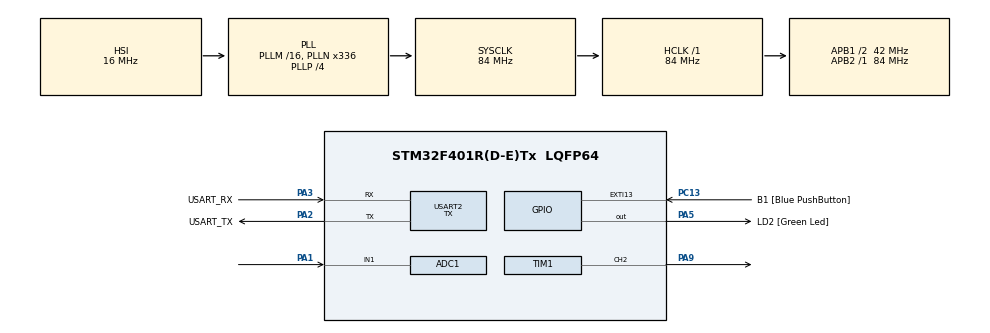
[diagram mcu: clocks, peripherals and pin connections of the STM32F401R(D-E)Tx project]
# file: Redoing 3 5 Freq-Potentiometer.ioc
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ADC1.Channel-0\#ChannelRegularConversion=ADC_CHANNEL_1
ADC1.ExternalTrigConv=ADC_EXTERNALTRIGCONV_T2_TRGO
ADC1.InjNumberOfConversion=0
ADC1.NbrOfConversion=1
ADC1.NbrOfConversionFlag=1
ADC1.Rank-0\#ChannelRegularConversion=1
ADC1.SamplingTime-0\#ChannelRegularConversion=ADC_SAMPLETIME_480CYCLES
ADC1.master=1
Mcu.Family=STM32F4
Mcu.Name=STM32F401R(D-E)Tx
Mcu.Package=LQFP64
NVIC.ADC_IRQn=true\:0\:0\:false\:false\:true\:true\:true\:true
NVIC.PriorityGroup=NVIC_PRIORITYGROUP_0
NVIC.TIM2_IRQn=true\:0\:0\:false\:false\:true\:true\:true\:true
NVIC.USART2_IRQn=true\:0\:0\:false\:false\:true\:true\:true\:true
PA1.Signal=ADCx_IN1
PA13.GPIO_Label=TMS
PA13.Mode=Serial_Wire
PA13.Signal=SYS_JTMS-SWDIO
PA14.GPIO_Label=TCK
PA14.Mode=Serial_Wire
PA14.Signal=SYS_JTCK-SWCLK
PA2.GPIO_Label=USART_TX
PA2.GPIO_Mode=GPIO_MODE_AF_PP
PA2.GPIO_PuPd=GPIO_NOPULL
PA2.GPIO_Speed=GPIO_SPEED_FREQ_LOW
PA2.Mode=Asynchronous
PA2.Signal=USART2_TX
PA3.GPIO_Label=USART_RX
PA3.GPIO_Mode=GPIO_MODE_AF_PP
PA3.GPIO_PuPd=GPIO_NOPULL
PA3.GPIO_Speed=GPIO_SPEED_FREQ_LOW
PA3.Mode=Asynchronous
PA3.Signal=USART2_RX
PA5.GPIO_Label=LD2 [Green Led]
PA5.GPIO_Mode=GPIO_MODE_OUTPUT_PP
PA5.GPIO_PuPd=GPIO_NOPULL
PA5.GPIO_Speed=GPIO_SPEED_FREQ_LOW
PA5.Signal=GPIO_Output
PA9.Signal=S_TIM1_CH2
PB3.GPIO_Label=SWO
PB3.Signal=SYS_JTDO-SWO
PC13-ANTI_TAMP.GPIO_Label=B1 [Blue PushButton]
PC13-ANTI_TAMP.GPIO_ModeDefaultEXTI=GPIO_MODE_IT_FALLING
PC13-ANTI_TAMP.GPIO_PuPd=GPIO_NOPULL
PC13-ANTI_TAMP.Signal=GPXTI13
PC14-OSC32_IN.Mode=LSE-External-Oscillator
PC14-OSC32_IN.Signal=RCC_OSC32_IN
PC15-OSC32_OUT.Mode=LSE-External-Oscillator
PC15-OSC32_OUT.Signal=RCC_OSC32_OUT
PH0\ -\ OSC_IN.Mode=HSE-External-Clock-Source
PH0\ -\ OSC_IN.Signal=RCC_OSC_IN
PH1\ -\ OSC_OUT.Mode=HSE-External-Clock-Source
PH1\ -\ OSC_OUT.Signal=RCC_OSC_OUT
ProjectManager.HeapSize=0x200
ProjectManager.StackSize=0x400
ProjectManager.TargetToolchain=STM32CubeIDE
RCC.48MHZClocksFreq_Value=48000000
RCC.AHBFreq_Value=84000000
RCC.APB1CLKDivider=RCC_HCLK_DIV2
RCC.APB1Freq_Value=42000000
RCC.APB1TimFreq_Value=84000000
RCC.APB2Freq_Value=84000000
RCC.APB2TimFreq_Value=84000000
RCC.CortexFreq_Value=84000000
RCC.HCLKFreq_Value=84000000
RCC.HSE_VALUE=8000000
RCC.HSI_VALUE=16000000
RCC.PLLN=336
RCC.PLLP=RCC_PLLP_DIV4
RCC.PLLQ=7
RCC.SYSCLKFreq_VALUE=84000000
RCC.SYSCLKSource=RCC_SYSCLKSOURCE_PLLCLK
RCC.VCOOutputFreq_Value=336000000
SH.ADCx_IN1.0=ADC1_IN1,IN1
SH.S_TIM1_CH2.0=TIM1_CH2,PWM Generation2 CH2
TIM1.Channel-PWM\ Generation2\ CH2=TIM_CHANNEL_2
TIM1.Period=1000
TIM1.Prescaler=84-1
TIM1.Pulse-PWM\ Generation2\ CH2=1000/2
TIM2.Period=1000-1
TIM2.Prescaler=8400-1
TIM2.TIM_MasterOutputTrigger=TIM_TRGO_UPDATE
TIM2.TIM_MasterSlaveMode=TIM_MASTERSLAVEMODE_DISABLE
USART2.Mode=MODE_TX
USART2.VirtualMode=VM_ASYNC
VP_TIM2_VS_ClockSourceINT.Mode=Internal
board=NUCLEO-F401RE

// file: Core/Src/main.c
/* USER CODE BEGIN Header */
/**
  ******************************************************************************
  * @file           : main.c
  * @brief          : Main program body
  ******************************************************************************
  * @attention
  *
  * Copyright (c) 2024 STMicroelectronics.
  * All rights reserved.
  *
  * This software is licensed under terms that can be found in the LICENSE file
  * in the root directory of this software component.
  * If no LICENSE file comes with this software, it is provided AS-IS.
  *
  ******************************************************************************
  */
/* USER CODE END Header */
#include "main.h"

/* USER CODE BEGIN Includes */
#include <stdio.h>
#include <string.h>
#include <math.h>
/* USER CODE END Includes */

ADC_HandleTypeDef hadc1;

TIM_HandleTypeDef htim1;
TIM_HandleTypeDef htim2;

UART_HandleTypeDef huart2;

void SystemClock_Config(void);
static void MX_GPIO_Init(void);
static void MX_USART2_UART_Init(void);
static void MX_TIM1_Init(void);
static void MX_ADC1_Init(void);
static void MX_TIM2_Init(void);

/* USER CODE BEGIN 0 */
void changePWM(float freq) {
	htim1.Init.Period = 1000000/freq - 1;
	if (HAL_TIM_PWM_Init(&htim1) != HAL_OK)
		Error_Handler();

	TIM_OC_InitTypeDef sConfigOC = { 0 };

	sConfigOC.OCMode = TIM_OCMODE_PWM1;
	sConfigOC.Pulse = htim1.Init.Period/2 - 1;
	sConfigOC.OCPolarity = TIM_OCPOLARITY_HIGH;
	sConfigOC.OCNPolarity = TIM_OCNPOLARITY_HIGH;
	sConfigOC.OCFastMode = TIM_OCFAST_DISABLE;
	sConfigOC.OCIdleState = TIM_OCIDLESTATE_RESET;
	sConfigOC.OCNIdleState = TIM_OCNIDLESTATE_RESET;
	if (HAL_TIM_PWM_ConfigChannel(&htim1, &sConfigOC, TIM_CHANNEL_2) != HAL_OK)
		Error_Handler();
}

void HAL_ADC_ConvCpltCallback(ADC_HandleTypeDef *hadc){
	if(hadc == &hadc1){
		static aux = 0;
		float val = (int)HAL_ADC_GetValue(&hadc1)*72/4096 - 36;
		char string[64];
		if(aux != val){
			snprintf(string, sizeof(string), "Voltage: %.3f\r\n", val);
			HAL_UART_Transmit(&huart2, (uint8_t*) string, strlen(string), 100);
			changePWM(440 * pow(1.059463094359, val));
			HAL_TIM_PWM_Start(&htim1, TIM_CHANNEL_2);
			aux = val;
		}
	}
}

/* USER CODE END 0 */

int main(void)
{

  /* MCU Configuration--------------------------------------------------------*/

  /* Reset of all peripherals, Initializes the Flash interface and the Systick. */
  HAL_Init();

  /* Configure the system clock */
  SystemClock_Config();

  /* Initialize all configured peripherals */
  MX_GPIO_Init();
  MX_USART2_UART_Init();
  MX_TIM1_Init();
  MX_ADC1_Init();
  MX_TIM2_Init();
  /* USER CODE BEGIN 2 */

  //start frequency generator
  //if(HAL_TIM_PWM_Start(&htim1, TIM_CHANNEL_2) != HAL_OK)
  //	  	  Error_Handler();
  //start timer to make adc read
  if(HAL_TIM_Base_Start(&htim2) != HAL_OK)
  	  	  Error_Handler();

  //start adc conversion
  if(HAL_ADC_Start_IT(&hadc1) != HAL_OK)
  	  Error_Handler();

  /* USER CODE END 2 */

  /* Infinite loop */
  while (1)
  {

  }
}

void SystemClock_Config(void)
{
  RCC_OscInitTypeDef RCC_OscInitStruct = {0};
  RCC_ClkInitTypeDef RCC_ClkInitStruct = {0};

  /** Configure the main internal regulator output voltage
  */
  __HAL_RCC_PWR_CLK_ENABLE();
  __HAL_PWR_VOLTAGESCALING_CONFIG(PWR_REGULATOR_VOLTAGE_SCALE2);

  /** Initializes the RCC Oscillators according to the specified parameters
  * in the RCC_OscInitTypeDef structure.
  */
  RCC_OscInitStruct.OscillatorType = RCC_OSCILLATORTYPE_HSI;
  RCC_OscInitStruct.HSIState = RCC_HSI_ON;
  RCC_OscInitStruct.HSICalibrationValue = RCC_HSICALIBRATION_DEFAULT;
  RCC_OscInitStruct.PLL.PLLState = RCC_PLL_ON;
  RCC_OscInitStruct.PLL.PLLSource = RCC_PLLSOURCE_HSI;
  RCC_OscInitStruct.PLL.PLLM = 16;
  RCC_OscInitStruct.PLL.PLLN = 336;
  RCC_OscInitStruct.PLL.PLLP = RCC_PLLP_DIV4;
  RCC_OscInitStruct.PLL.PLLQ = 7;
  if (HAL_RCC_OscConfig(&RCC_OscInitStruct) != HAL_OK)
  {
    Error_Handler();
  }

  /** Initializes the CPU, AHB and APB buses clocks
  */
  RCC_ClkInitStruct.ClockType = RCC_CLOCKTYPE_HCLK|RCC_CLOCKTYPE_SYSCLK
                              |RCC_CLOCKTYPE_PCLK1|RCC_CLOCKTYPE_PCLK2;
  RCC_ClkInitStruct.SYSCLKSource = RCC_SYSCLKSOURCE_PLLCLK;
  RCC_ClkInitStruct.AHBCLKDivider = RCC_SYSCLK_DIV1;
  RCC_ClkInitStruct.APB1CLKDivider = RCC_HCLK_DIV2;
  RCC_ClkInitStruct.APB2CLKDivider = RCC_HCLK_DIV1;

  if (HAL_RCC_ClockConfig(&RCC_ClkInitStruct, FLASH_LATENCY_2) != HAL_OK)
  {
    Error_Handler();
  }
}

static void MX_ADC1_Init(void)
{

  ADC_ChannelConfTypeDef sConfig = {0};

  /** Configure the global features of the ADC (Clock, Resolution, Data Alignment and number of conversion)
  */
  hadc1.Instance = ADC1;
  hadc1.Init.ClockPrescaler = ADC_CLOCK_SYNC_PCLK_DIV4;
  hadc1.Init.Resolution = ADC_RESOLUTION_12B;
  hadc1.Init.ScanConvMode = DISABLE;
  hadc1.Init.ContinuousConvMode = DISABLE;
  hadc1.Init.DiscontinuousConvMode = DISABLE;
  hadc1.Init.ExternalTrigConvEdge = ADC_EXTERNALTRIGCONVEDGE_RISING;
  hadc1.Init.ExternalTrigConv = ADC_EXTERNALTRIGCONV_T2_TRGO;
  hadc1.Init.DataAlign = ADC_DATAALIGN_RIGHT;
  hadc1.Init.NbrOfConversion = 1;
  hadc1.Init.DMAContinuousRequests = DISABLE;
  hadc1.Init.EOCSelection = ADC_EOC_SINGLE_CONV;
  if (HAL_ADC_Init(&hadc1) != HAL_OK)
  {
    Error_Handler();
  }

  /** Configure for the selected ADC regular channel its corresponding rank in the sequencer and its sample time.
  */
  sConfig.Channel = ADC_CHANNEL_1;
  sConfig.Rank = 1;
  sConfig.SamplingTime = ADC_SAMPLETIME_480CYCLES;
  if (HAL_ADC_ConfigChannel(&hadc1, &sConfig) != HAL_OK)
  {
    Error_Handler();
  }

}

static void MX_TIM1_Init(void)
{

  TIM_MasterConfigTypeDef sMasterConfig = {0};
  TIM_OC_InitTypeDef sConfigOC = {0};
  TIM_BreakDeadTimeConfigTypeDef sBreakDeadTimeConfig = {0};

  htim1.Instance = TIM1;
  htim1.Init.Prescaler = 84-1;
  htim1.Init.CounterMode = TIM_COUNTERMODE_UP;
  htim1.Init.Period = 1000;
  htim1.Init.ClockDivision = TIM_CLOCKDIVISION_DIV1;
  htim1.Init.RepetitionCounter = 0;
  htim1.Init.AutoReloadPreload = TIM_AUTORELOAD_PRELOAD_DISABLE;
  if (HAL_TIM_PWM_Init(&htim1) != HAL_OK)
  {
    Error_Handler();
  }
  sMasterConfig.MasterOutputTrigger = TIM_TRGO_RESET;
  sMasterConfig.MasterSlaveMode = TIM_MASTERSLAVEMODE_DISABLE;
  if (HAL_TIMEx_MasterConfigSynchronization(&htim1, &sMasterConfig) != HAL_OK)
  {
    Error_Handler();
  }
  sConfigOC.OCMode = TIM_OCMODE_PWM1;
  sConfigOC.Pulse = 1000/2;
  sConfigOC.OCPolarity = TIM_OCPOLARITY_HIGH;
  sConfigOC.OCNPolarity = TIM_OCNPOLARITY_HIGH;
  sConfigOC.OCFastMode = TIM_OCFAST_DISABLE;
  sConfigOC.OCIdleState = TIM_OCIDLESTATE_RESET;
  sConfigOC.OCNIdleState = TIM_OCNIDLESTATE_RESET;
  if (HAL_TIM_PWM_ConfigChannel(&htim1, &sConfigOC, TIM_CHANNEL_2) != HAL_OK)
  {
    Error_Handler();
  }
  sBreakDeadTimeConfig.OffStateRunMode = TIM_OSSR_DISABLE;
  sBreakDeadTimeConfig.OffStateIDLEMode = TIM_OSSI_DISABLE;
  sBreakDeadTimeConfig.LockLevel = TIM_LOCKLEVEL_OFF;
  sBreakDeadTimeConfig.DeadTime = 0;
  sBreakDeadTimeConfig.BreakState = TIM_BREAK_DISABLE;
  sBreakDeadTimeConfig.BreakPolarity = TIM_BREAKPOLARITY_HIGH;
  sBreakDeadTimeConfig.AutomaticOutput = TIM_AUTOMATICOUTPUT_DISABLE;
  if (HAL_TIMEx_ConfigBreakDeadTime(&htim1, &sBreakDeadTimeConfig) != HAL_OK)
  {
    Error_Handler();
  }
  HAL_TIM_MspPostInit(&htim1);

}

static void MX_TIM2_Init(void)
{

  TIM_ClockConfigTypeDef sClockSourceConfig = {0};
  TIM_MasterConfigTypeDef sMasterConfig = {0};

  htim2.Instance = TIM2;
  htim2.Init.Prescaler = 8400-1;
  htim2.Init.CounterMode = TIM_COUNTERMODE_UP;
  htim2.Init.Period = 1000-1;
  htim2.Init.ClockDivision = TIM_CLOCKDIVISION_DIV1;
  htim2.Init.AutoReloadPreload = TIM_AUTORELOAD_PRELOAD_DISABLE;
  if (HAL_TIM_Base_Init(&htim2) != HAL_OK)
  {
    Error_Handler();
  }
  sClockSourceConfig.ClockSource = TIM_CLOCKSOURCE_INTERNAL;
  if (HAL_TIM_ConfigClockSource(&htim2, &sClockSourceConfig) != HAL_OK)
  {
    Error_Handler();
  }
  sMasterConfig.MasterOutputTrigger = TIM_TRGO_UPDATE;
  sMasterConfig.MasterSlaveMode = TIM_MASTERSLAVEMODE_DISABLE;
  if (HAL_TIMEx_MasterConfigSynchronization(&htim2, &sMasterConfig) != HAL_OK)
  {
    Error_Handler();
  }

}

static void MX_USART2_UART_Init(void)
{

  huart2.Instance = USART2;
  huart2.Init.BaudRate = 115200;
  huart2.Init.WordLength = UART_WORDLENGTH_8B;
  huart2.Init.StopBits = UART_STOPBITS_1;
  huart2.Init.Parity = UART_PARITY_NONE;
  huart2.Init.Mode = UART_MODE_TX;
  huart2.Init.HwFlowCtl = UART_HWCONTROL_NONE;
  huart2.Init.OverSampling = UART_OVERSAMPLING_16;
  if (HAL_UART_Init(&huart2) != HAL_OK)
  {
    Error_Handler();
  }

}

static void MX_GPIO_Init(void)
{
  GPIO_InitTypeDef GPIO_InitStruct = {0};

  /* GPIO Ports Clock Enable */
  __HAL_RCC_GPIOC_CLK_ENABLE();
  __HAL_RCC_GPIOH_CLK_ENABLE();
  __HAL_RCC_GPIOA_CLK_ENABLE();
  __HAL_RCC_GPIOB_CLK_ENABLE();

  /*Configure GPIO pin Output Level */
  HAL_GPIO_WritePin(LD2_GPIO_Port, LD2_Pin, GPIO_PIN_RESET);

  /*Configure GPIO pin : B1_Pin */
  GPIO_InitStruct.Pin = B1_Pin;
  GPIO_InitStruct.Mode = GPIO_MODE_IT_FALLING;
  GPIO_InitStruct.Pull = GPIO_NOPULL;
  HAL_GPIO_Init(B1_GPIO_Port, &GPIO_InitStruct);

  /*Configure GPIO pin : LD2_Pin */
  GPIO_InitStruct.Pin = LD2_Pin;
  GPIO_InitStruct.Mode = GPIO_MODE_OUTPUT_PP;
  GPIO_InitStruct.Pull = GPIO_NOPULL;
  GPIO_InitStruct.Speed = GPIO_SPEED_FREQ_LOW;
  HAL_GPIO_Init(LD2_GPIO_Port, &GPIO_InitStruct);

}

void Error_Handler(void)
{
  __disable_irq();
  while (1)
  {
  }
}
